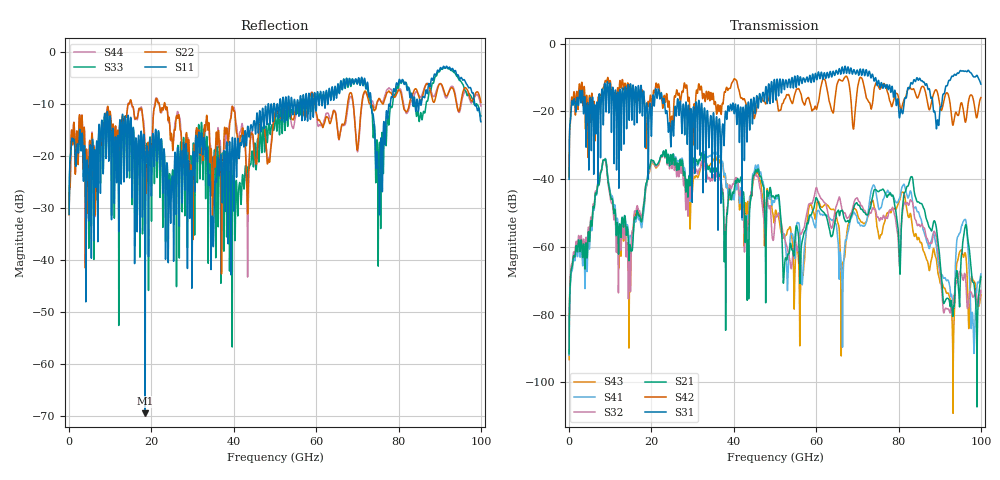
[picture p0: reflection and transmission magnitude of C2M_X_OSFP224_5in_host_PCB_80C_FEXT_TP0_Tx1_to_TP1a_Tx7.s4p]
# GHz S RI R 45
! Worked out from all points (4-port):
!   4000 points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, 25 MHz to 100 GHz, reference 45 ohm
!   strongest paths, dB at 25 MHz, 25.02 GHz, 50.02 GHz, 75.03 GHz, 100 GHz:
!     S31: -40.1, -23.0, -12.5, -11.2, -12.0
!     S42: -39.3, -21.6, -13.7, -12.5, -15.9
!     S21: -91.6, -35.6, -45.7, -43.7, -68.8
!     S32: -89.9, -36.9, -52.2, -51.2, -72.8
!     S41: -92.1, -34.3, -46.0, -47.8, -68.0
!     S43: -93.3, -35.3, -50.3, -55.4, -74.2
!   lowest |S11| = -69.5 dB at 18.5 GHz (marker M1), VSWR 1.00, Z = 45 + j0.0235 ohm
!   |S11| at or under -10 dB: start of sweep to 48.36 GHz; 73.39 GHz to 78.01 GHz (4.624 GHz wide, 6.11 % of centre); 98.48 GHz to end of sweep (the widest 3 of 28)
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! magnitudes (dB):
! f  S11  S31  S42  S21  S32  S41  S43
! 25 MHz  -31.2  -40.1  -39.3  -91.6  -89.9  -92.1  -93.3
! 8.525 GHz  -13.1  -13.5  -12.4  -34.4  -34.5  -34.3  -34.5
! 14.65 GHz  -22.5  -21.9  -12.9  -61.9  -61.4  -59.1  -72.1
! 18.5 GHz  -69.5  -30.6  -21.8  -43.2  -43.1  -44.2  -44.2
! 52.38 GHz  -12.4  -13.0  -16.4  -64.8  -57.6  -57.2  -57.0
! 83.08 GHz  -8.0  -11.5  -13.4  -39.3  -46.3  -44.0  -51.3
! 100 GHz  -13.4  -12.0  -15.9  -68.8  -72.8  -68.0  -74.2
